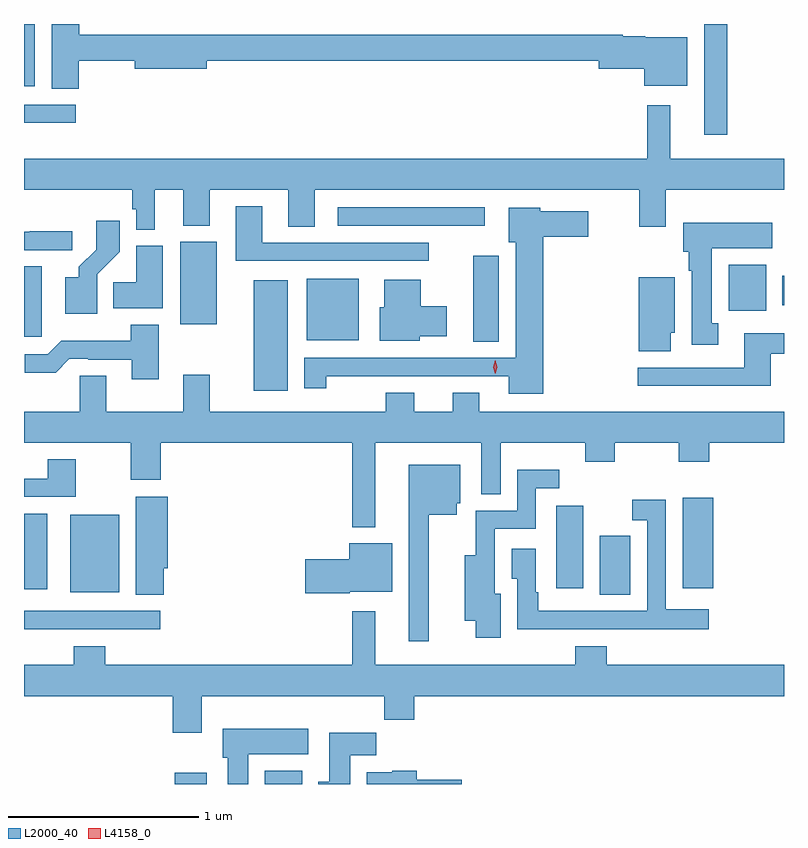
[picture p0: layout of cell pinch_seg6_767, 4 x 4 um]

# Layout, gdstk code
import gdstk
lib = gdstk.Library(unit=1e-6, precision=1e-09)
def R(c, l, rs):  # rectangles x0, y0, x1, y1
    for r in rs: c.add(gdstk.rectangle(r[:2], r[2:], *l))
def P(c, l, *ps):  # polygons
    for p in ps: c.add(gdstk.Polygon(p, *l))
L2000_40 = (2000, 40)
L4158_0 = (4158, 0)

pinch_seg6_767 = lib.new_cell('pinch_seg6_767')
R(pinch_seg6_767, L2000_40, [(364.688,962.857,364.858,962.917), (365.162,962.857,365.359,962.926), (363.895,963.672,364.612,963.768), (366.926,963.853,367.087,964.164), (364.139,963.866,364.396,964.273), (363.895,963.881,364.018,964.279), (366.695,963.887,366.838,964.321), (367.361,963.888,367.522,964.363), (365.105,964.928,365.284,965.509), (366.26,965.185,366.394,965.638), (365.384,965.192,365.656,965.515), (363.895,965.211,363.988,965.582), (364.718,965.276,364.909,965.71), (367.604,965.348,367.801,965.59), (367.886,965.376,367.895,965.532), (365.547,965.796,366.319,965.892), (367.475,966.273,367.597,966.857), (363.895,966.336,364.168,966.432), (363.895,966.53,363.952,966.857)])
P(pinch_seg6_767, L2000_40, [(364.182,966.664),(364.478,966.664),(364.478,966.622),(364.858,966.622),(364.858,966.664),(366.92,966.664),(366.92,966.622),(367.16,966.622),(367.16,966.533),(367.387,966.533),(367.387,966.787),(367.164,966.787),(367.164,966.793),(367.045,966.793),(367.045,966.8),(364.187,966.8),(364.187,966.857),(364.04,966.857),(364.04,966.517),(364.182,966.517)],
  [(364.582,965.984),(364.733,965.984),(364.733,965.795),(364.873,965.795),(364.873,965.984),(365.285,965.984),(365.285,965.791),(365.425,965.791),(365.425,965.984),(367.133,965.984),(367.133,965.79),(367.273,965.79),(367.273,965.984),(367.895,965.984),(367.895,966.148),(367.297,966.148),(367.297,966.43),(367.176,966.43),(367.176,966.148),(363.895,966.148),(363.895,965.984),(364.465,965.984),(364.465,965.883),(364.485,965.883),(364.485,965.774),(364.582,965.774)],
  [(366.025,965.706),(365.149,965.706),(365.149,965.899),(365.009,965.899),(365.009,965.61),(366.025,965.61)],
  [(366.629,965.738),(366.865,965.738),(366.865,965.872),(366.612,965.872),(366.612,965.89),(366.446,965.89),(366.446,965.708),(366.482,965.708),(366.482,965.1),(365.369,965.1),(365.369,964.941),(365.487,964.941),(365.487,965.003),(365.714,965.003),(365.714,965.004),(366.446,965.004),(366.446,964.91),(366.629,964.91)],
  [(364.281,965.539),(364.4,965.658),(364.4,965.821),(364.275,965.821),(364.275,965.669),(364.184,965.579),(364.184,965.524),(364.112,965.524),(364.112,965.331),(364.281,965.331)],
  [(367.549,965.282),(367.516,965.282),(367.516,965.678),(367.834,965.678),(367.834,965.812),(367.364,965.812),(367.364,965.658),(367.394,965.658),(367.394,965.558),(367.409,965.558),(367.409,965.169),(367.549,965.169)],
  [(364.15,965.766),(363.925,965.766),(363.925,965.763),(363.895,965.763),(363.895,965.667),(364.15,965.667)],
  [(364.624,965.689),(364.487,965.689),(364.487,965.498),(364.366,965.498),(364.366,965.36),(364.624,965.36)],
  [(367.3,965.232),(367.321,965.232),(367.321,965.524),(367.13,965.524),(367.13,965.134),(367.3,965.134)],
  [(365.979,965.213),(366.121,965.213),(366.121,965.371),(365.983,965.371),(365.983,965.512),(365.792,965.512),(365.792,965.367),(365.768,965.367),(365.768,965.189),(365.979,965.189)],
  [(364.603,965.275),(364.456,965.275),(364.456,965.189),(364.091,965.189),(364.02,965.118),(363.9,965.118),(363.9,965.021),(364.061,965.021),(364.134,965.094),(364.234,965.094),(364.234,965.091),(364.463,965.091),(364.463,964.986),(364.603,964.986)],
  [(367.825,965.121),(367.895,965.121),(367.895,965.23),(367.685,965.23),(367.685,965.049),(367.125,965.049),(367.125,964.952),(367.825,964.952)],
  [(364.873,965.011),(364.733,965.011),(364.733,964.816),(364.327,964.816),(364.327,965.006),(364.188,965.006),(364.188,964.816),(363.895,964.816),(363.895,964.652),(364.456,964.652),(364.456,964.458),(364.616,964.458),(364.616,964.652),(365.622,964.652),(365.622,964.208),(365.743,964.208),(365.743,964.652),(366.302,964.652),(366.302,964.381),(366.403,964.381),(366.403,964.652),(366.85,964.652),(366.85,964.553),(367.005,964.553),(367.005,964.652),(367.342,964.652),(367.342,964.553),(367.502,964.553),(367.502,964.652),(367.895,964.652),(367.895,964.816),(366.292,964.816),(366.292,964.915),(366.152,964.915),(366.152,964.816),(365.95,964.816),(365.95,964.915),(365.798,964.915),(365.798,964.816),(364.873,964.816)],
  [(364.167,964.567),(364.019,964.567),(364.019,964.464),(363.895,964.464),(363.895,964.368),(364.167,964.368)],
  [(366.025,964.274),(366.172,964.274),(366.172,964.335),(366.19,964.335),(366.19,964.537),(365.921,964.537),(365.921,963.609),(366.025,963.609)],
  [(366.403,963.859),(366.373,963.859),(366.373,964.2),(366.588,964.2),(366.588,964.413),(366.712,964.413),(366.712,964.51),(366.492,964.51),(366.492,964.296),(366.272,964.296),(366.272,964.06),(366.215,964.06),(366.215,963.716),(366.272,963.716),(366.272,963.627),(366.403,963.627)],
  [(364.631,963.993),(364.652,963.993),(364.652,964.369),(364.484,964.369),(364.484,963.853),(364.631,963.853)],
  [(366.713,963.672),(367.079,963.672),(367.079,963.671),(367.498,963.671),(367.498,963.778),(367.272,963.778),(367.272,964.354),(367.095,964.354),(367.095,964.245),(367.176,964.245),(367.176,963.768),(366.601,963.768),(366.601,963.865),(366.588,963.865),(366.588,964.096),(366.461,964.096),(366.461,963.937),(366.492,963.937),(366.492,963.671),(366.713,963.671)],
  [(365.61,963.869),(365.833,963.869),(365.833,964.123),(365.606,964.123),(365.606,964.04),(365.376,964.04),(365.376,963.862),(365.61,963.862)],
  [(364.831,963.32),(365.791,963.32),(365.791,963.196),(365.948,963.196),(365.948,963.32),(367.895,963.32),(367.895,963.484),(366.962,963.484),(366.962,963.583),(366.797,963.583),(366.797,963.484),(365.743,963.484),(365.743,963.766),(365.622,963.766),(365.622,963.484),(364.322,963.484),(364.322,963.583),(364.157,963.583),(364.157,963.484),(363.895,963.484),(363.895,963.32),(364.679,963.32),(364.679,963.126),(364.831,963.126)],
  [(365.074,963.014),(365.392,963.014),(365.392,963.148),(364.94,963.148),(364.94,962.994),(364.967,962.994),(364.967,962.857),(365.074,962.857)],
  [(365.611,963.008),(365.75,963.008),(365.75,963.127),(365.501,963.127),(365.501,962.868),(365.444,962.868),(365.444,962.857),(365.611,962.857)],
  [(366.199,962.88),(365.963,962.88),(365.963,962.926),(365.832,962.926),(365.832,962.92),(365.699,962.92),(365.699,962.857),(366.199,962.857)])
P(pinch_seg6_767, L4158_0, [(366.375,965.015),(366.366,965.051),(366.376,965.087),(366.376,965.087),(366.376,965.087),(366.386,965.051),(366.376,965.015),(366.376,965.015)])

lib.write_gds('pinch_seg6_767.gds')
